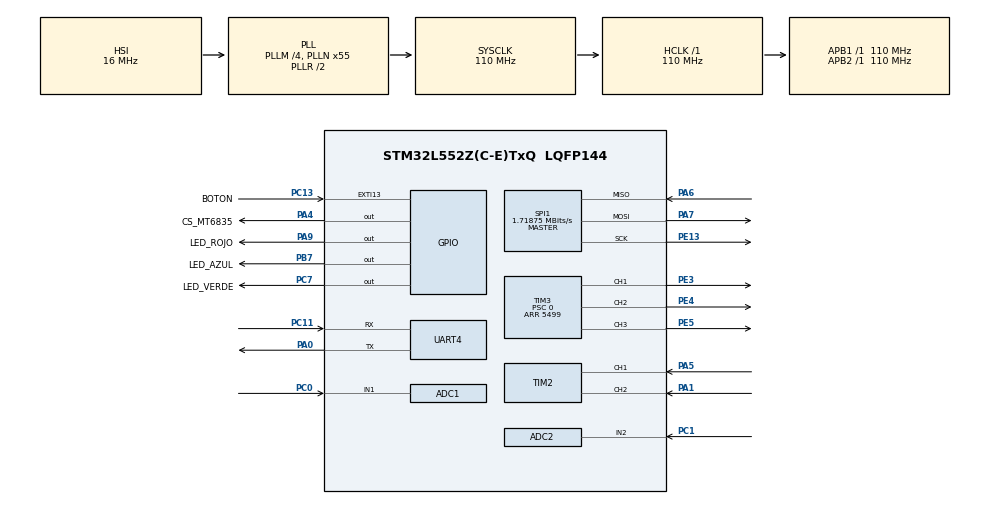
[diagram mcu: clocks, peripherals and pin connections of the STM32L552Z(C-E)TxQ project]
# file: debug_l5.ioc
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ADC1.Channel-0\#ChannelRegularConversion=ADC_CHANNEL_1
ADC1.DMAAccessModeView=ENABLE
ADC1.DMAContinuousRequests=ENABLE
ADC1.ExternalTrigConv=ADC_EXTERNALTRIG_T3_TRGO
ADC1.Mode=ADC_DUALMODE_REGSIMULT
ADC1.NbrOfConversionFlag=1
ADC1.OffsetNumber-0\#ChannelRegularConversion=ADC_OFFSET_NONE
ADC1.Rank-0\#ChannelRegularConversion=1
ADC1.SamplingTime-0\#ChannelRegularConversion=ADC_SAMPLETIME_640CYCLES_5
ADC1.master=1
ADC2.Channel-0\#ChannelRegularConversion=ADC_CHANNEL_2
ADC2.DMAAccessModeView=ENABLE
ADC2.Mode=ADC_DUALMODE_REGSIMULT
ADC2.NbrOfConversionFlag=1
ADC2.OffsetNumber-0\#ChannelRegularConversion=ADC_OFFSET_NONE
ADC2.Rank-0\#ChannelRegularConversion=1
ADC2.SamplingTime-0\#ChannelRegularConversion=ADC_SAMPLETIME_640CYCLES_5
Dma.ADC1.2.Channel_PRIV_NPRIV=DMA_CHANNEL_NPRIV_DISABLE
Dma.ADC1.2.Direction=DMA_PERIPH_TO_MEMORY
Dma.ADC1.2.EventEnable=DISABLE
Dma.ADC1.2.Instance=DMA1_Channel3
Dma.ADC1.2.MemDataAlignment=DMA_MDATAALIGN_WORD
Dma.ADC1.2.MemInc=DMA_MINC_ENABLE
Dma.ADC1.2.Mode=DMA_CIRCULAR
Dma.ADC1.2.PeriphDataAlignment=DMA_PDATAALIGN_WORD
Dma.ADC1.2.PeriphInc=DMA_PINC_DISABLE
Dma.ADC1.2.Polarity=HAL_DMAMUX_REQ_GEN_RISING
Dma.ADC1.2.Priority=DMA_PRIORITY_LOW
Dma.ADC1.2.RequestNumber=1
Dma.ADC1.2.SignalID=NONE
Dma.ADC1.2.SyncEnable=DISABLE
Dma.ADC1.2.SyncPolarity=HAL_DMAMUX_SYNC_NO_EVENT
Dma.ADC1.2.SyncRequestNumber=1
Dma.ADC1.2.SyncSignalID=NONE
Dma.Request0=UART4_RX
Dma.Request1=UART4_TX
Dma.Request2=ADC1
Dma.UART4_RX.0.Channel_PRIV_NPRIV=DMA_CHANNEL_NPRIV_DISABLE
Dma.UART4_RX.0.Direction=DMA_PERIPH_TO_MEMORY
Dma.UART4_RX.0.EventEnable=DISABLE
Dma.UART4_RX.0.Instance=DMA1_Channel1
Dma.UART4_RX.0.MemDataAlignment=DMA_MDATAALIGN_BYTE
Dma.UART4_RX.0.MemInc=DMA_MINC_ENABLE
Dma.UART4_RX.0.Mode=DMA_NORMAL
Dma.UART4_RX.0.PeriphDataAlignment=DMA_PDATAALIGN_BYTE
Dma.UART4_RX.0.PeriphInc=DMA_PINC_DISABLE
Dma.UART4_RX.0.Polarity=HAL_DMAMUX_REQ_GEN_RISING
Dma.UART4_RX.0.Priority=DMA_PRIORITY_LOW
Dma.UART4_RX.0.RequestNumber=1
Dma.UART4_RX.0.SignalID=NONE
Dma.UART4_RX.0.SyncEnable=DISABLE
Dma.UART4_RX.0.SyncPolarity=HAL_DMAMUX_SYNC_NO_EVENT
Dma.UART4_RX.0.SyncRequestNumber=1
Dma.UART4_RX.0.SyncSignalID=NONE
Dma.UART4_TX.1.Channel_PRIV_NPRIV=DMA_CHANNEL_NPRIV_DISABLE
Dma.UART4_TX.1.Direction=DMA_MEMORY_TO_PERIPH
Dma.UART4_TX.1.EventEnable=DISABLE
Dma.UART4_TX.1.Instance=DMA1_Channel2
Dma.UART4_TX.1.MemDataAlignment=DMA_MDATAALIGN_BYTE
Dma.UART4_TX.1.MemInc=DMA_MINC_ENABLE
Dma.UART4_TX.1.Mode=DMA_NORMAL
Dma.UART4_TX.1.PeriphDataAlignment=DMA_PDATAALIGN_BYTE
Dma.UART4_TX.1.PeriphInc=DMA_PINC_DISABLE
Dma.UART4_TX.1.Polarity=HAL_DMAMUX_REQ_GEN_RISING
Dma.UART4_TX.1.Priority=DMA_PRIORITY_LOW
Dma.UART4_TX.1.RequestNumber=1
Dma.UART4_TX.1.SignalID=NONE
Dma.UART4_TX.1.SyncEnable=DISABLE
Dma.UART4_TX.1.SyncPolarity=HAL_DMAMUX_SYNC_NO_EVENT
Dma.UART4_TX.1.SyncRequestNumber=1
Dma.UART4_TX.1.SyncSignalID=NONE
FREERTOS.Tasks01=tarea_consola,24,512,consola,Default,NULL,Dynamic,NULL,NULL;tarea_sm,44,512,maquina_estados,Default,NULL,Dynamic,NULL,NULL;tarea_errores,40,512,handler_errores,Default,NULL,Dynamic,NULL,NULL;test,8,256,test_task,Default,NULL,Dynamic,NULL,NULL
FREERTOS.configENABLE_FPU=1
Mcu.Family=STM32L5
Mcu.Name=STM32L552Z(C-E)TxQ
Mcu.Package=LQFP144
Mcu.TrustZone=disable
NVIC.ADC1_2_IRQn=true\:5\:0\:false\:false\:true\:true\:true\:true\:true
NVIC.DMA1_Channel1_IRQn=true\:7\:0\:true\:false\:true\:true\:false\:true\:true
NVIC.DMA1_Channel2_IRQn=true\:5\:0\:false\:false\:true\:true\:false\:true\:true
NVIC.DMA1_Channel3_IRQn=true\:5\:0\:true\:false\:true\:false\:false\:true\:true
NVIC.EXTI13_IRQn=true\:5\:0\:false\:false\:true\:true\:true\:true\:true
NVIC.PriorityGroup=NVIC_PRIORITYGROUP_3
NVIC.TIM3_IRQn=true\:6\:0\:true\:false\:true\:true\:true\:true\:true
NVIC.TIM4_IRQn=true\:5\:0\:false\:false\:true\:true\:true\:true\:true
NVIC.TIM5_IRQn=true\:5\:0\:true\:false\:true\:true\:true\:true\:true
NVIC.TIM6_IRQn=true\:4\:0\:true\:false\:true\:false\:true\:true\:true
NVIC.TIM7_IRQn=true\:7\:0\:false\:false\:true\:false\:false\:true\:true
NVIC.TimeBase=TIM7_IRQn
NVIC.TimeBaseIP=TIM7
NVIC.UART4_IRQn=true\:7\:0\:true\:false\:true\:true\:true\:true\:true
PA0.Mode=Asynchronous
PA0.Signal=UART4_TX
PA1.Signal=S_TIM2_CH2
PA13\ (JTMS/SWDIO).Signal=DEBUG_JTMS-SWDIO
PA14\ (JTCK/SWCLK).Signal=DEBUG_JTCK-SWCLK
PA4.GPIO_Label=CS_MT6835
PA4.Signal=GPIO_Output
PA5.Signal=S_TIM2_CH1
PA6.Mode=Full_Duplex_Master
PA6.Signal=SPI1_MISO
PA7.Mode=Full_Duplex_Master
PA7.Signal=SPI1_MOSI
PA9.GPIO_Label=LED_ROJO
PA9.Signal=GPIO_Output
PB3\ (JTDO/TRACESWO).Signal=DEBUG_JTDO-SWO
PB7.GPIO_Label=LED_AZUL
PB7.GPIO_PuPd=GPIO_PULLDOWN
PB7.Signal=GPIO_Output
PC0.Signal=ADCx_IN1
PC1.Signal=ADCx_IN2
PC11.Mode=Asynchronous
PC11.Signal=UART4_RX
PC13.GPIO_Label=BOTON
PC13.GPIO_PuPd=GPIO_PULLDOWN
PC13.Signal=GPXTI13
PC14-OSC32_IN\ (PC14).Mode=LSE-External-Oscillator
PC14-OSC32_IN\ (PC14).Signal=RCC_OSC32_IN
PC15-OSC32_OUT\ (PC15).Mode=LSE-External-Oscillator
PC15-OSC32_OUT\ (PC15).Signal=RCC_OSC32_OUT
PC7.GPIO_Label=LED_VERDE
PC7.GPIO_PuPd=GPIO_PULLDOWN
PC7.Signal=GPIO_Output
PE13.Mode=Full_Duplex_Master
PE13.Signal=SPI1_SCK
PE3.Signal=S_TIM3_CH1
PE4.Signal=S_TIM3_CH2
PE5.Signal=S_TIM3_CH3
PG7.GPIO_Label=LPUART1_TX [ST-LINK_VCP_RX]
PG7.Signal=LPUART1_TX
PG8.GPIO_Label=LPUART1_RX [ST-LINK_VCP_TX]
PG8.Signal=LPUART1_RX
ProjectManager.HeapSize=0x200
ProjectManager.StackSize=0x400
ProjectManager.TargetToolchain=CMake
RCC.ADCCLockSelection=RCC_ADCCLKSOURCE_SYSCLK
RCC.ADCFreq_Value=110000000
RCC.AHBFreq_Value=110000000
RCC.APB1Freq_Value=110000000
RCC.APB1TimFreq_Value=110000000
RCC.APB2Freq_Value=110000000
RCC.APB2TimFreq_Value=110000000
RCC.CK48CLockSelection=RCC_USBCLKSOURCE_HSI48
RCC.CortexFreq_Value=110000000
RCC.HCLKFreq_Value=110000000
RCC.HSE_VALUE=8000000
RCC.HSI48_VALUE=48000000
RCC.HSI_VALUE=16000000
RCC.MSI_VALUE=4000000
RCC.PLLM=4
RCC.PLLN=55
RCC.PLLSAI1N=24
RCC.PLLSourceVirtual=RCC_PLLSOURCE_HSI
RCC.RTCClockSelection=RCC_RTCCLKSOURCE_LSE
RCC.SYSCLKFreq_VALUE=110000000
RCC.SYSCLKSource=RCC_SYSCLKSOURCE_PLLCLK
RCC.USBFreq_Value=48000000
RCC.VCOOutputFreq_Value=220000000
SH.ADCx_IN1.0=ADC1_IN1,IN1-Single-Ended
SH.ADCx_IN2.0=ADC2_IN2,IN2-Single-Ended
SH.S_TIM2_CH1.0=TIM2_CH1,Encoder_Interface
SH.S_TIM2_CH2.0=TIM2_CH2,Encoder_Interface
SH.S_TIM3_CH1.0=TIM3_CH1,PWM Generation1 CH1
SH.S_TIM3_CH2.0=TIM3_CH2,PWM Generation2 CH2
SH.S_TIM3_CH3.0=TIM3_CH3,PWM Generation3 CH3
SPI1.BaudRatePrescaler=SPI_BAUDRATEPRESCALER_64
SPI1.CLKPhase=SPI_PHASE_2EDGE
SPI1.CLKPolarity=SPI_POLARITY_HIGH
SPI1.CalculateBaudRate=1.71875 MBits/s
SPI1.DataSize=SPI_DATASIZE_8BIT
SPI1.Direction=SPI_DIRECTION_2LINES
SPI1.Mode=SPI_MODE_MASTER
SPI1.VirtualType=VM_MASTER
TIM3.AutoReloadPreload=TIM_AUTORELOAD_PRELOAD_ENABLE
TIM3.Channel-PWM\ Generation1\ CH1=TIM_CHANNEL_1
TIM3.Channel-PWM\ Generation2\ CH2=TIM_CHANNEL_2
TIM3.Channel-PWM\ Generation3\ CH3=TIM_CHANNEL_3
TIM3.CounterMode=TIM_COUNTERMODE_CENTERALIGNED1
TIM3.OCFastMode_PWM-PWM\ Generation1\ CH1=TIM_OCFAST_ENABLE
TIM3.Period=5499
TIM3.Prescaler=0
TIM3.TIM_MasterOutputTrigger=TIM_TRGO_UPDATE
TIM4.Period=4364
TIM5.Period=109999999
TIM6.Period=54999
TIM6.Prescaler=1
VP_FREERTOS_VS_CMSIS_V2.Mode=CMSIS_V2
VP_ICACHE_VS_ICACHE.Mode=DirectMappedCache
VP_PWR_VS_DBSignals.Mode=DisableDeadBatterySignals
VP_PWR_VS_SECSignals.Mode=Security/Privilege
VP_SYS_VS_tim7.Mode=TIM7
VP_TIM3_VS_ClockSourceINT.Mode=Internal
VP_TIM4_VS_ClockSourceINT.Mode=Internal
VP_TIM5_VS_ClockSourceINT.Mode=Internal
VP_TIM6_VS_ClockSourceINT.Mode=Enable_Timer
board=NUCLEO-L552ZE-Q

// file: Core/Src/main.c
/* USER CODE BEGIN Header */
/**
  ******************************************************************************
  * @file           : main.c
  * @brief          : Main program body
  ******************************************************************************
  * @attention
  *
  * Copyright (c) 2026 STMicroelectronics.
  * All rights reserved.
  *
  * This software is licensed under terms that can be found in the LICENSE file
  * in the root directory of this software component.
  * If no LICENSE file comes with this software, it is provided AS-IS.
  *
  ******************************************************************************
  */
/* USER CODE END Header */
#include "main.h"
#include "cmsis_os.h"
#include "adc.h"
#include "dma.h"
#include "icache.h"
#include "spi.h"
#include "tim.h"
#include "usart.h"
#include "gpio.h"

/* USER CODE BEGIN Includes */

#include <string.h>

#include "posicion.h"
#include "corriente.h"
#include "general.h"

#include "tests.h"

/* USER CODE END Includes */

void SystemClock_Config(void);
void MX_FREERTOS_Init(void);

int main(void)
{

  /* MCU Configuration--------------------------------------------------------*/

  /* Reset of all peripherals, Initializes the Flash interface and the Systick. */
  HAL_Init();

  /* Configure the system clock */
  SystemClock_Config();

  /* Initialize all configured peripherals */
  MX_GPIO_Init();
  MX_DMA_Init();
  MX_ICACHE_Init();
  MX_UART4_Init();
  MX_ADC1_Init();
  MX_ADC2_Init();
  MX_TIM3_Init();
  MX_SPI1_Init();
  MX_TIM2_Init();
  MX_TIM6_Init();
  MX_TIM5_Init();
  MX_TIM4_Init();
  /* USER CODE BEGIN 2 */

	// TIMER PARA GIRAR EL BLDC A VELOCIDAD CONSTANTE
	//HAL_TIM_Base_Start_IT(&htim4);

  /* USER CODE END 2 */

  /* Init scheduler */
  osKernelInitialize();  /* Call init function for freertos objects (in cmsis_os2.c) */
  MX_FREERTOS_Init();

  /* Start scheduler */
  osKernelStart();

  /* We should never get here as control is now taken by the scheduler */

  /* Infinite loop */
  /* USER CODE BEGIN WHILE */

	while (1) {
		/*
		test_corriente_runtime();
		HAL_Delay(1000);
		test_posicion_runtime();
		HAL_Delay(1000);
		*/
		HAL_Delay(HAL_MAX_DELAY);
    /* USER CODE END WHILE */

	}
}

void SystemClock_Config(void)
{
  RCC_OscInitTypeDef RCC_OscInitStruct = {0};
  RCC_ClkInitTypeDef RCC_ClkInitStruct = {0};

  /** Configure the main internal regulator output voltage
  */
  if (HAL_PWREx_ControlVoltageScaling(PWR_REGULATOR_VOLTAGE_SCALE0) != HAL_OK)
  {
    Error_Handler();
  }

  /** Initializes the RCC Oscillators according to the specified parameters
  * in the RCC_OscInitTypeDef structure.
  */
  RCC_OscInitStruct.OscillatorType = RCC_OSCILLATORTYPE_HSI;
  RCC_OscInitStruct.HSIState = RCC_HSI_ON;
  RCC_OscInitStruct.HSICalibrationValue = RCC_HSICALIBRATION_DEFAULT;
  RCC_OscInitStruct.PLL.PLLState = RCC_PLL_ON;
  RCC_OscInitStruct.PLL.PLLSource = RCC_PLLSOURCE_HSI;
  RCC_OscInitStruct.PLL.PLLM = 4;
  RCC_OscInitStruct.PLL.PLLN = 55;
  RCC_OscInitStruct.PLL.PLLP = RCC_PLLP_DIV7;
  RCC_OscInitStruct.PLL.PLLQ = RCC_PLLQ_DIV2;
  RCC_OscInitStruct.PLL.PLLR = RCC_PLLR_DIV2;
  if (HAL_RCC_OscConfig(&RCC_OscInitStruct) != HAL_OK)
  {
    Error_Handler();
  }

  /** Initializes the CPU, AHB and APB buses clocks
  */
  RCC_ClkInitStruct.ClockType = RCC_CLOCKTYPE_HCLK|RCC_CLOCKTYPE_SYSCLK
                              |RCC_CLOCKTYPE_PCLK1|RCC_CLOCKTYPE_PCLK2;
  RCC_ClkInitStruct.SYSCLKSource = RCC_SYSCLKSOURCE_PLLCLK;
  RCC_ClkInitStruct.AHBCLKDivider = RCC_SYSCLK_DIV1;
  RCC_ClkInitStruct.APB1CLKDivider = RCC_HCLK_DIV1;
  RCC_ClkInitStruct.APB2CLKDivider = RCC_HCLK_DIV1;

  if (HAL_RCC_ClockConfig(&RCC_ClkInitStruct, FLASH_LATENCY_5) != HAL_OK)
  {
    Error_Handler();
  }
}

void HAL_TIM_PeriodElapsedCallback(TIM_HandleTypeDef *htim)
{
  if (htim->Instance == TIM7)
  {
    HAL_IncTick();
  }
  /* USER CODE BEGIN Callback 1 */

	else if (htim->Instance == TIM3) {
		HAL_GPIO_TogglePin(LED_AZUL_GPIO_Port, LED_AZUL_Pin);
		lazo_corriente();
	} else if (htim->Instance == TIM6) {
		HAL_GPIO_TogglePin(LED_ROJO_GPIO_Port, LED_ROJO_Pin);
		lazo_posicion();
	} else if (htim->Instance == TIM5) {
		tim5_of++;
	} else if (htim->Instance == TIM4) {
		HAL_GPIO_TogglePin(LED_ROJO_GPIO_Port, LED_ROJO_Pin);
		test_mover_bldc();
	}

  /* USER CODE END Callback 1 */
}

void Error_Handler(void)
{
	__disable_irq();
	while (1) {}
}

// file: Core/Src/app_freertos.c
/* USER CODE BEGIN Header */
/**
  ******************************************************************************
  * File Name          : freertos.c
  * Description        : Code for freertos applications
  ******************************************************************************
  * @attention
  *
  * Copyright (c) 2026 STMicroelectronics.
  * All rights reserved.
  *
  * This software is licensed under terms that can be found in the LICENSE file
  * in the root directory of this software component.
  * If no LICENSE file comes with this software, it is provided AS-IS.
  *
  ******************************************************************************
  */
/* USER CODE END Header */

#include "FreeRTOS.h"
#include "task.h"
#include "main.h"
#include "cmsis_os.h"

/* USER CODE BEGIN Includes */

#include <stdio.h>
#include <string.h>

#include "corriente.h"
#include "usart.h"
#include "general.h"
#include "interpolador.h"
#include "posicion.h"
#include "tim.h"
#include "user_constants.h"

/* USER CODE END Includes */

/* USER CODE BEGIN Variables */

QueueHandle_t cola_consola;
QueueHandle_t cola_errores;
QueueHandle_t cola_estados;
estados_e estado = INIT;

/* USER CODE END Variables */
/* Definitions for tarea_consola */
osThreadId_t tarea_consolaHandle;
const osThreadAttr_t tarea_consola_attributes = {
  .name = "tarea_consola",
  .priority = (osPriority_t) osPriorityNormal,
  .stack_size = 512 * 4
};
/* Definitions for tarea_sm */
osThreadId_t tarea_smHandle;
const osThreadAttr_t tarea_sm_attributes = {
  .name = "tarea_sm",
  .priority = (osPriority_t) osPriorityHigh4,
  .stack_size = 512 * 4
};
/* Definitions for tarea_errores */
osThreadId_t tarea_erroresHandle;
const osThreadAttr_t tarea_errores_attributes = {
  .name = "tarea_errores",
  .priority = (osPriority_t) osPriorityHigh,
  .stack_size = 512 * 4
};
/* Definitions for test */
osThreadId_t testHandle;
const osThreadAttr_t test_attributes = {
  .name = "test",
  .priority = (osPriority_t) osPriorityLow,
  .stack_size = 256 * 4
};

void consola(void *argument);
void maquina_estados(void *argument);
void handler_errores(void *argument);
void test_task(void *argument);

void MX_FREERTOS_Init(void); /* (MISRA C 2004 rule 8.1) */

void MX_FREERTOS_Init(void) {

  /* USER CODE BEGIN RTOS_QUEUES */
	/* add queues, ... */

	cola_consola = xQueueCreate(5, sizeof(mensaje_cli_t));
	cola_errores = xQueueCreate(3, sizeof(error_codes_e));
	cola_estados = xQueueCreate(3, sizeof(estados_e));

  /* USER CODE END RTOS_QUEUES */

  /* Create the thread(s) */
  /* creation of tarea_consola */
  tarea_consolaHandle = osThreadNew(consola, NULL, &tarea_consola_attributes);

  /* creation of tarea_sm */
  tarea_smHandle = osThreadNew(maquina_estados, NULL, &tarea_sm_attributes);

  /* creation of tarea_errores */
  tarea_erroresHandle = osThreadNew(handler_errores, NULL, &tarea_errores_attributes);

  /* creation of test */
  testHandle = osThreadNew(test_task, NULL, &test_attributes);

}

/* USER CODE BEGIN Header_consola */
/**
  * @brief  Tarea para dar interfaz CLI al controlador
  * @param  argument: Not used
  * @retval None
  */
/* USER CODE END Header_consola */
void consola(void *argument)
{
  /* USER CODE BEGIN consola */

	mensaje_cli_t mensaje = {0};

	xQueueReceive(cola_consola, &mensaje, portMAX_DELAY);

	/* Infinite loop */
	while (1) {
	vTaskDelay(10);
		HAL_UART_Transmit_DMA(&huart4, (uint8_t *)"\r\n>> ", 5);

		xQueueReceive(cola_consola, &mensaje, portMAX_DELAY);

		switch (mensaje.mensaje[0]) {
			case 'e':
				estado_sistema();
				break;

			case 'i':
				iniciar_lazos();
				break;

			case 'p':
				parar_lazos();
				break;

			case 'm': {
				char *fin = &mensaje.mensaje[2];
				float angulo = strtof(&mensaje.mensaje[2], &fin) * MY_PI/180.0f;

				// VERIFICO QUE EL COMANDO "m ..." CONTENGA UN ANGULO VALIDO QUE SE PUEDA LEER COMO FLOAT
				if (*fin == mensaje.mensaje[2]) {
					HAL_UART_Transmit_DMA(&huart4, (uint8_t *)"Verificar angulo enviado\r\n", 26);
					break;
				}

				mover(angulo);
				break;
			}

			case 'c':
				mover(0.0f);
				break;

			case 'l':
				leer_posicion();
				break;

			case 'a':
				calibrar_adcs();
				break;

			case 'd': {
				char *fin = &mensaje.mensaje[2];
				float new_Pd = strtof(&mensaje.mensaje[2], &fin);

				if (*fin == mensaje.mensaje[2]) {
					HAL_UART_Transmit_DMA(&huart4, (uint8_t *)"Verificar angulo enviado\r\n", 26);
					break;
				}

				cur_set_Pd(new_Pd);
				break;
			}
			case 'q': {
				char *fin = &mensaje.mensaje[2];
				float new_Pq = strtof(&mensaje.mensaje[2], &fin);

				if (*fin == mensaje.mensaje[2]) {
					HAL_UART_Transmit_DMA(&huart4, (uint8_t *)"Verificar angulo enviado\r\n", 26);
					break;
				}

				cur_set_Pq(new_Pq);
				break;
			}

			case 'x': {
				char *fin = &mensaje.mensaje[2];
				float new_P = strtof(&mensaje.mensaje[2], &fin);

				if (*fin == mensaje.mensaje[2]) {
					HAL_UART_Transmit_DMA(&huart4, (uint8_t *)"Verificar angulo enviado\r\n", 26);
					break;
				}

				pos_set_P(new_P);
				break;
			}

			case 'y': {
				char *fin = &mensaje.mensaje[2];
				float new_I = strtof(&mensaje.mensaje[2], &fin);

				if (*fin == mensaje.mensaje[2]) {
					HAL_UART_Transmit_DMA(&huart4, (uint8_t *)"Verificar angulo enviado\r\n", 26);
					break;
				}

				pos_set_I(new_I);
				break;
			}

			case 'z': {
				char *fin = &mensaje.mensaje[2];
				float new_D = strtof(&mensaje.mensaje[2], &fin);

				if (*fin == mensaje.mensaje[2]) {
					HAL_UART_Transmit_DMA(&huart4, (uint8_t *)"Verificar angulo enviado\r\n", 26);
					break;
				}

				pos_set_D(new_D);
				break;
			}

			case 't': {
				char *fin;
				float duty = strtof(&mensaje.mensaje[3], &fin) / 100.0;

				if (fin == &mensaje.mensaje[3]) {
					HAL_UART_Transmit_DMA(&huart4, (uint8_t *)"Verificar duty enviado\r\n", 24);
					break;
				}

				char fase = mensaje.mensaje[1];
				switch (fase) {
					case 'a':
						__HAL_TIM_SET_COMPARE(&htim3, TIM_CHANNEL_1, duty * __HAL_TIM_GET_AUTORELOAD(&htim3));
						break;

					case 'b':
						__HAL_TIM_SET_COMPARE(&htim3, TIM_CHANNEL_2, duty * __HAL_TIM_GET_AUTORELOAD(&htim3));
						break;

					case 'c':
						__HAL_TIM_SET_COMPARE(&htim3, TIM_CHANNEL_3, duty * __HAL_TIM_GET_AUTORELOAD(&htim3));
						break;

					default:
						HAL_UART_Transmit_DMA(&huart4, (uint8_t *)"Verificar fase\r\n", 16);
						break;
				}
				break;
			}

			case 'v': {
				char *fin;

				float v_max = strtof(&mensaje.mensaje[2], &fin);

				if (fin == &mensaje.mensaje[2]) {
					HAL_UART_Transmit_DMA(&huart4, (uint8_t *)"Verificar caracter enviado\r\n", 28);
					break;
				}

				set_v_max((interpolador_t *)&interpolador, v_max);
				break;
			}

			case 'w': {
				char *fin;

				float a_max = strtof(&mensaje.mensaje[2], &fin);

				if (fin == &mensaje.mensaje[2]) {
					HAL_UART_Transmit_DMA(&huart4, (uint8_t *)"Verificar caracter enviado\r\n", 28);
					break;
				}

				set_a_max((interpolador_t *)&interpolador, a_max);
				break;
			}

			case 'h': {
				char msj[] = "Ayuda:\r\n"
						"	e: Estado del sistema\r\n"
						"	i: Iniciar lazos de control\r\n"
						"	p: Parar lazos de control\r\n"
						"	m X: Mover a posicion X\r\n"
						"	c: Mover a cero\r\n"
						"	l: Leer posicion\r\n"
						"	a: Calibrar ADCs\r\n"
						"	d: Set Pd\r\n"
						"	q: Set Pq\r\n"
						"	x: Set P\r\n"
						"	y: Set I\r\n"
						"	z: Set D\r\n"
						"	v: Set v_max\r\n"
						"	w: Set a_max\r\n";

				HAL_UART_Transmit_DMA(&huart4, (uint8_t *)msj, strlen(msj));
				break;
			}

			default:
				HAL_UART_Transmit_DMA(&huart4, (uint8_t *)"Comando desconocido (h para ayuda)\r\n", 36);
				break;
		}
	}
  /* USER CODE END consola */
}

void maquina_estados(void *argument)
{
  /* USER CODE BEGIN maquina_estados */

	/* Infinite loop */
	while (1) {
		switch (estado) {
			case INIT:
				init_sistema();
				estado = INIT;
				break;

			case IDLE:
				mensaje_cli_t mensaje = {0};
				xQueueSend(cola_consola, &mensaje, 100);
				estado = IDLE;
				break;

			case PARADA:
				HAL_UART_Transmit_DMA(&huart4, (uint8_t *)"Parada emergencia\r\n", 15);
				enviar_cola_estados(FALLA);
				estado = PARADA;
				break;

			case CONTROL:
				HAL_UART_Transmit_DMA(&huart4, (uint8_t *)"Control iniciado\r\n", 18);
				estado = CONTROL;
				break;

			case FALLA:
				HAL_UART_Transmit_DMA(&huart4, (uint8_t *)"Reiniciar sistema...\r\n", 29);
				estado = FALLA;
				break;
		}

		xQueueReceive(cola_estados, &estado, portMAX_DELAY);
	}
  /* USER CODE END maquina_estados */
}

void handler_errores(void *argument)
{
  /* USER CODE BEGIN handler_errores */

	error_codes_e error;

	/* Infinite loop */
	while (1) {
		xQueueReceive(cola_errores, &error, portMAX_DELAY);

		switch (error) {
			case ADC1_CAL:
				HAL_UART_Transmit_DMA(&huart4, (uint8_t *)"Error: Cal ADC1\r\n", 17);
				break;

			case ADC2_CAL:
				HAL_UART_Transmit_DMA(&huart4, (uint8_t *)"Error: Cal ADC2\r\n", 17);
				break;

			case ADC2_START:
				HAL_UART_Transmit_DMA(&huart4, (uint8_t *)"Error: Start ADC2\r\n", 19);
				break;

			case ADC_MULTIMODE:
				HAL_UART_Transmit_DMA(&huart4, (uint8_t *)"Error: ADC Multimode\r\n", 22);
				break;

			case ADC_OFF:
				HAL_UART_Transmit_DMA(&huart4, (uint8_t *)"Error: Lecturas ADCs nulas\r\n", 28);
				break;

			case PWM_CH1:
				HAL_UART_Transmit_DMA(&huart4, (uint8_t *)"Error: PWM CH1\r\n", 16);
				break;

			case PWM_CH2:
				HAL_UART_Transmit_DMA(&huart4, (uint8_t *)"Error: PWM CH2\r\n", 16);
				break;

			case PWM_CH3:
				HAL_UART_Transmit_DMA(&huart4, (uint8_t *)"Error: PWM CH3\r\n", 16);
				break;

			case TIM_POS_START:
				HAL_UART_Transmit_DMA(&huart4, (uint8_t *)"Error: TIM posicion\r\n", 21);
				break;

			case TIM_ENC_START:
				HAL_UART_Transmit_DMA(&huart4, (uint8_t *)"Error: TIM encoder\r\n", 20);
				break;

			case ENCODER_CONFIG:
				HAL_UART_Transmit_DMA(&huart4, (uint8_t *)"Error: Configuracion encoder\r\n", 30);
				break;

			case ENCODER_ZERO:
				HAL_UART_Transmit_DMA(&huart4, (uint8_t *)"Error: Zero Encoder\r\n", 21);
				break;

			case OVERCURRENT:

				HAL_UART_Transmit_DMA(&huart4, (uint8_t *)"Error: Sobrecorriente\r\n", 23);
				break;

			default:
				HAL_UART_Transmit_DMA(&huart4, (uint8_t *)"Error: Desconocido\r\n", 20);
				break;
		}

		enviar_cola_estados(FALLA);
	}
  /* USER CODE END handler_errores */
}

/* USER CODE BEGIN Header_test_task */
/**
* @brief Function implementing the test thread.
* @param argument: Not used
* @retval None
*/
volatile float debug = 0;
/* USER CODE END Header_test_task */
void test_task(void *argument)
{
  /* USER CODE BEGIN test_task */
  /* Infinite loop */
  while (1) {
  	debug = get_posicion_deg();
    osDelay(200);
  }
  /* USER CODE END test_task */
}

/* USER CODE BEGIN Application */

void enviar_cola_estados(estados_e estado) {
	estados_e estado_nuevo = estado;
	xQueueSend(cola_estados, &estado_nuevo, 100);
}

void enviar_cola_fallas(error_codes_e error) {
	error_codes_e error_nuevo = error;
	xQueueSend(cola_errores, &error_nuevo, 100);
}

/* USER CODE END Application */
